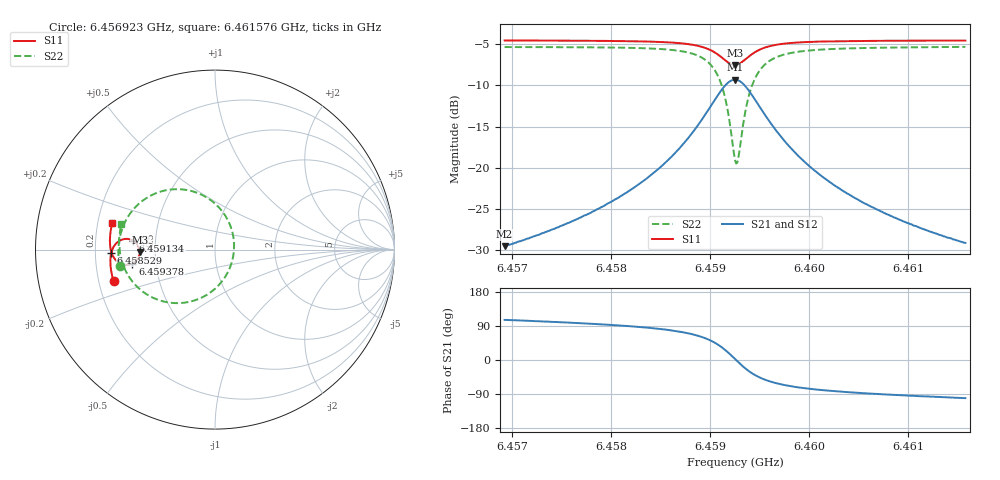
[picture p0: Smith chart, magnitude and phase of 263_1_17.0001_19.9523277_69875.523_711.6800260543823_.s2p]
#  HZ  S  RI  R  50.00
! Rohde & Schwarz Vector Network Analyzer
! Rohde-Schwarz,ZNB20-2Port,1311601062101988,3.16
! Created: UTC 3/20/2024, 11:03:51 PM
! freq[Hz]  re:S11  im:S11  re:S21  im:S21  re:S12  im:S12  re:S22  im:S22
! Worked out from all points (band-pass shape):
!   401 points, 6.456923 GHz to 6.461576 GHz, reference 50 ohm
!   highest |S21| = -9.30 dB at 6.45925 GHz (marker M1); lowest = -29.5 dB at 6.456923 GHz (marker M2)
!   |S21| within 3 dB of the highest: 6.459017 GHz to 6.459482 GHz (465.7 kHz wide, 0.00721 % of centre)
!   lowest |S11| = -7.5 dB at 6.45925 GHz (marker M3), VSWR 2.45, Z = 20.4 - j0.626 ohm
!   |S11| at or under -10 dB: nowhere
!   |S22| runs from -19.5 to -5.3 dB; largest |S21 - S12| = 0.013
!   S11 on the Smith chart (normalised r, x): 6.456923 GHz: 0.26, -0.14; 6.458529 GHz: 0.27, -0.01; 6.459134 GHz: 0.37, +0.05; 6.459378 GHz: 0.37, -0.07; 6.461576 GHz: 0.26, +0.12
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6.4569235e9  -0.5651 -0.177  -0.00904 0.0321  -0.00746 0.0321  -0.5317 -0.0941
6.4577028e9  -0.5799 -0.1091  -0.00608 0.05  -0.00346 0.0494  -0.5383 -0.00326
6.4580866e9  -0.583 -0.0714  -0.00115 0.0667  0.00203 0.0654  -0.5327 0.0561
6.4584821e9  -0.5797 -0.0249  0.0133 0.098  0.0173 0.0953  -0.5065 0.1425
6.4585287e9  -0.5784 -0.0185  0.0167 0.1035  0.0207 0.1005  -0.5002 0.1558
6.458738e9  -0.5663 0.0134  0.0423 0.135  0.0467 0.1304  -0.452 0.2273
6.4588892e9  -0.5452 0.0397  0.0848 0.1654  0.0881 0.1591  -0.374 0.2919
6.4590405e9  -0.4994 0.0595  0.176 0.1846  0.177 0.1773  -0.2071 0.3366
6.4591335e9  -0.4553 0.0497  0.2656 0.1542  0.2658 0.1483  -0.0413 0.2874
6.45918e9  -0.4342 0.031  0.3089 0.1118  0.3102 0.1065  0.0413 0.2119
6.4592498e9  -0.4194 -0.0126  0.3422 0.0158  0.3459 0.00881  0.1062 0.0337
6.4592615e9  -0.4199 -0.0205  0.3421 -0.00175  0.346 -0.00942  0.1061 0.000369
6.4592847e9  -0.4233 -0.0359  0.3368 -0.0362  0.3405 -0.0453  0.0955 -0.0648
6.4593313e9  -0.4388 -0.0616  0.3087 -0.0958  0.3109 -0.1075  0.0386 -0.1772
6.4593778e9  -0.4606 -0.0779  0.2672 -0.1366  0.2664 -0.1496  -0.045 -0.2519
6.4594708e9  -0.5033 -0.0846  0.1833 -0.1679  0.1774 -0.1792  -0.2124 -0.2983
6.4596221e9  -0.5468 -0.0643  0.0963 -0.1546  0.088 -0.1608  -0.3789 -0.2503
6.4597849e9  -0.5683 -0.0366  0.0515 -0.1272  0.0442 -0.1301  -0.4592 -0.1792
6.4600292e9  -0.5811 -0.00122  0.0226 -0.0963  0.0169 -0.0969  -0.5073 -0.0971
6.4603549e9  -0.5855 0.0375  0.00722 -0.071  0.00316 -0.0707  -0.5285 -0.0226
6.4608085e9  -0.5837 0.083  -0.0013 -0.0515  -0.00407 -0.0506  -0.5336 0.0503
6.4615762e9  -0.5716 0.1508  -0.00641 -0.0343  -0.00805 -0.0334  -0.5226 0.1407
